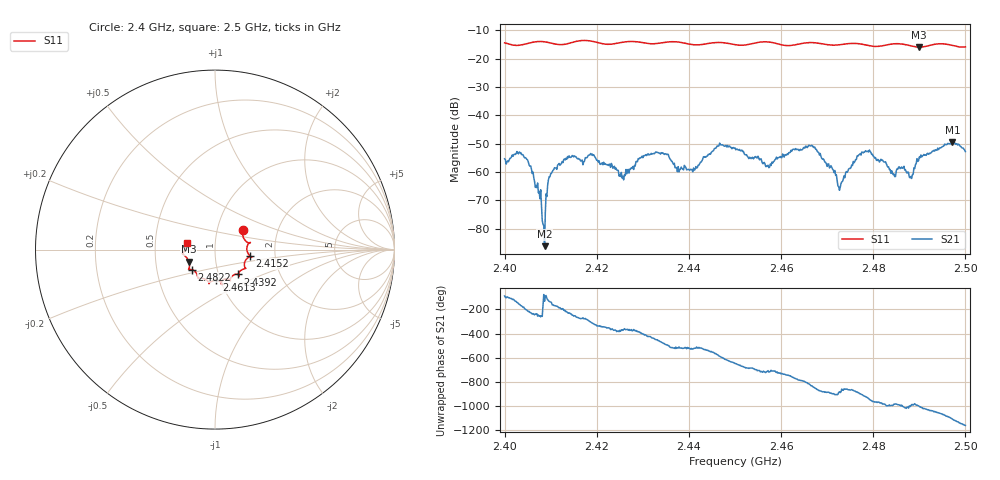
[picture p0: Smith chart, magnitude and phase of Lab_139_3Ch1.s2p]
# Hz S RI R 50
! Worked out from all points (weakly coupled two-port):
!   601 points, 2.4 GHz to 2.5 GHz, reference 50 ohm
!   highest |S21| = -49.49 dB at 2.4972 GHz (marker M1); lowest = -86.2 dB at 2.4087 GHz (marker M2)
!   lowest |S11| = -15.9 dB at 2.4898 GHz (marker M3), VSWR 1.38, Z = 37 - j5.04 ohm
!   |S11| at or under -10 dB: start of sweep to end of sweep
!   S12 and S22 are empty: the file has one direction only
!   S11 on the Smith chart (normalised r, x): 2.4 GHz: 1.33, +0.30; 2.4152 GHz: 1.48, -0.11; 2.4392 GHz: 1.23, -0.35; 2.4613 GHz: 0.96, -0.34; 2.4822 GHz: 0.76, -0.17; 2.5 GHz: 0.73, +0.05
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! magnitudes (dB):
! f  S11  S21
! 2.4 GHz  -14.4  -55.4
! 2.4045 GHz  -14.8  -54.9
! 2.4087 GHz  -14.0  -86.2
! 2.4102 GHz  -14.5  -60.5
! 2.4152 GHz  -14.0  -54.3
! 2.4167 GHz  -13.6  -56.0
! 2.419 GHz  -13.8  -53.6
! 2.4257 GHz  -14.2  -61.5
! 2.4333 GHz  -14.6  -53.2
! 2.4392 GHz  -14.5  -58.1
! 2.45 GHz  -15.0  -51.5
! 2.457 GHz  -14.0  -57.8
! 2.4613 GHz  -15.4  -53.6
! 2.4667 GHz  -14.3  -50.6
! 2.4727 GHz  -15.1  -66.5
! 2.478 GHz  -15.0  -53.0
! 2.4822 GHz  -15.4  -56.2
! 2.4833 GHz  -15.0  -58.2
! 2.4882 GHz  -15.5  -61.6
! 2.4898 GHz  -15.9  -56.0
! 2.4972 GHz  -15.3  -49.5
! 2.5 GHz  -15.8  -52.8
